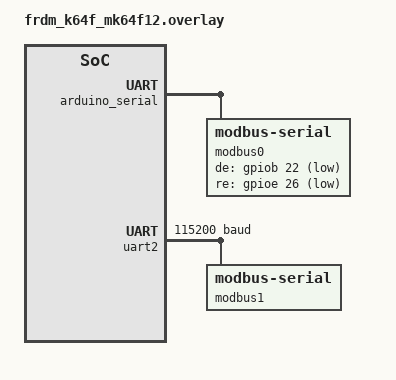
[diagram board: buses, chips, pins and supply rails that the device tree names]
/*
 * Copyright (c) 2020 Phytec Messtechnik GmbH
 *
 * SPDX-License-Identifier: Apache-2.0
 */

&arduino_serial {
	status = "okay";

	modbus0 {
		compatible = "zephyr,modbus-serial";
		status = "okay";
		de-gpios = <&gpiob 22 GPIO_ACTIVE_LOW>;	/* red LED */
		re-gpios = <&gpioe 26 GPIO_ACTIVE_LOW>;	/* green LED */
	};
};

&uart2 {
	status = "okay";
	current-speed = <115200>;

	modbus1 {
		compatible = "zephyr,modbus-serial";
		status = "okay";
	};
};
